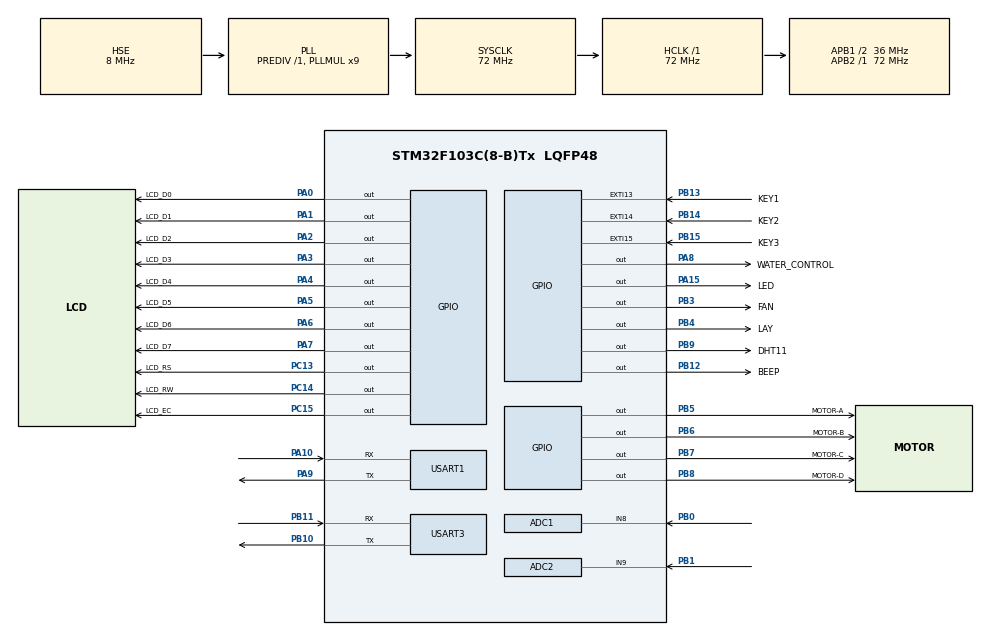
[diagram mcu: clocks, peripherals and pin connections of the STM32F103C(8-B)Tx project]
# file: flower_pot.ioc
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ADC1.Channel-1\#ChannelRegularConversion=ADC_CHANNEL_8
ADC1.NbrOfConversionFlag=1
ADC1.Rank-1\#ChannelRegularConversion=1
ADC1.SamplingTime-1\#ChannelRegularConversion=ADC_SAMPLETIME_1CYCLE_5
ADC1.master=1
ADC2.Channel-0\#ChannelRegularConversion=ADC_CHANNEL_9
ADC2.NbrOfConversionFlag=1
ADC2.Rank-0\#ChannelRegularConversion=1
ADC2.SamplingTime-0\#ChannelRegularConversion=ADC_SAMPLETIME_1CYCLE_5
Dma.Request0=USART3_RX
Dma.USART3_RX.0.Direction=DMA_PERIPH_TO_MEMORY
Dma.USART3_RX.0.Instance=DMA1_Channel3
Dma.USART3_RX.0.MemDataAlignment=DMA_MDATAALIGN_BYTE
Dma.USART3_RX.0.MemInc=DMA_MINC_ENABLE
Dma.USART3_RX.0.Mode=DMA_NORMAL
Dma.USART3_RX.0.PeriphDataAlignment=DMA_PDATAALIGN_BYTE
Dma.USART3_RX.0.PeriphInc=DMA_PINC_DISABLE
Dma.USART3_RX.0.Priority=DMA_PRIORITY_LOW
Mcu.Family=STM32F1
Mcu.Name=STM32F103C(8-B)Tx
Mcu.Package=LQFP48
NVIC.DMA1_Channel3_IRQn=true\:0\:0\:false\:false\:true\:false\:true\:true
NVIC.EXTI15_10_IRQn=true\:0\:0\:false\:false\:true\:true\:true\:true
NVIC.PriorityGroup=NVIC_PRIORITYGROUP_4
NVIC.TIM1_UP_IRQn=true\:0\:0\:false\:false\:true\:true\:true\:true
NVIC.USART3_IRQn=true\:0\:0\:false\:false\:true\:true\:true\:true
PA0-WKUP.GPIO_Label=LCD_D0
PA0-WKUP.GPIO_ModeDefaultOutputPP=GPIO_MODE_OUTPUT_PP
PA0-WKUP.GPIO_PuPd=GPIO_NOPULL
PA0-WKUP.GPIO_Speed=GPIO_SPEED_FREQ_MEDIUM
PA0-WKUP.PinState=GPIO_PIN_RESET
PA0-WKUP.Signal=GPIO_Output
PA1.GPIO_Label=LCD_D1
PA1.GPIO_ModeDefaultOutputPP=GPIO_MODE_OUTPUT_PP
PA1.GPIO_PuPd=GPIO_NOPULL
PA1.GPIO_Speed=GPIO_SPEED_FREQ_MEDIUM
PA1.PinState=GPIO_PIN_RESET
PA1.Signal=GPIO_Output
PA10.Mode=Asynchronous
PA10.Signal=USART1_RX
PA13.Mode=Serial_Wire
PA13.Signal=SYS_JTMS-SWDIO
PA14.Mode=Serial_Wire
PA14.Signal=SYS_JTCK-SWCLK
PA15.GPIO_Label=LED
PA15.GPIO_ModeDefaultOutputPP=GPIO_MODE_OUTPUT_PP
PA15.GPIO_PuPd=GPIO_PULLUP
PA15.GPIO_Speed=GPIO_SPEED_FREQ_HIGH
PA15.PinState=GPIO_PIN_SET
PA15.Signal=GPIO_Output
PA2.GPIO_Label=LCD_D2
PA2.GPIO_ModeDefaultOutputPP=GPIO_MODE_OUTPUT_PP
PA2.GPIO_PuPd=GPIO_NOPULL
PA2.GPIO_Speed=GPIO_SPEED_FREQ_MEDIUM
PA2.PinState=GPIO_PIN_RESET
PA2.Signal=GPIO_Output
PA3.GPIO_Label=LCD_D3
PA3.GPIO_ModeDefaultOutputPP=GPIO_MODE_OUTPUT_PP
PA3.GPIO_PuPd=GPIO_NOPULL
PA3.GPIO_Speed=GPIO_SPEED_FREQ_MEDIUM
PA3.PinState=GPIO_PIN_RESET
PA3.Signal=GPIO_Output
PA4.GPIO_Label=LCD_D4
PA4.GPIO_ModeDefaultOutputPP=GPIO_MODE_OUTPUT_PP
PA4.GPIO_PuPd=GPIO_NOPULL
PA4.GPIO_Speed=GPIO_SPEED_FREQ_MEDIUM
PA4.PinState=GPIO_PIN_RESET
PA4.Signal=GPIO_Output
PA5.GPIO_Label=LCD_D5
PA5.GPIO_ModeDefaultOutputPP=GPIO_MODE_OUTPUT_PP
PA5.GPIO_PuPd=GPIO_NOPULL
PA5.GPIO_Speed=GPIO_SPEED_FREQ_MEDIUM
PA5.PinState=GPIO_PIN_RESET
PA5.Signal=GPIO_Output
PA6.GPIO_Label=LCD_D6
PA6.GPIO_ModeDefaultOutputPP=GPIO_MODE_OUTPUT_PP
PA6.GPIO_PuPd=GPIO_NOPULL
PA6.GPIO_Speed=GPIO_SPEED_FREQ_MEDIUM
PA6.PinState=GPIO_PIN_RESET
PA6.Signal=GPIO_Output
PA7.GPIO_Label=LCD_D7
PA7.GPIO_ModeDefaultOutputPP=GPIO_MODE_OUTPUT_PP
PA7.GPIO_PuPd=GPIO_NOPULL
PA7.GPIO_Speed=GPIO_SPEED_FREQ_MEDIUM
PA7.PinState=GPIO_PIN_RESET
PA7.Signal=GPIO_Output
PA8.GPIO_Label=WATER_CONTROL
PA8.GPIO_ModeDefaultOutputPP=GPIO_MODE_OUTPUT_PP
PA8.GPIO_PuPd=GPIO_PULLDOWN
PA8.GPIO_Speed=GPIO_SPEED_FREQ_MEDIUM
PA8.PinState=GPIO_PIN_SET
PA8.Signal=GPIO_Output
PA9.Mode=Asynchronous
PA9.Signal=USART1_TX
PB0.Signal=ADCx_IN8
PB1.Signal=ADCx_IN9
PB10.Mode=Asynchronous
PB10.Signal=USART3_TX
PB11.Mode=Asynchronous
PB11.Signal=USART3_RX
PB12.GPIO_Label=BEEP
PB12.GPIO_ModeDefaultOutputPP=GPIO_MODE_OUTPUT_PP
PB12.GPIO_PuPd=GPIO_PULLUP
PB12.GPIO_Speed=GPIO_SPEED_FREQ_MEDIUM
PB12.PinState=GPIO_PIN_SET
PB12.Signal=GPIO_Output
PB13.GPIO_Label=KEY1
PB13.GPIO_ModeDefaultEXTI=GPIO_MODE_IT_FALLING
PB13.GPIO_PuPd=GPIO_PULLUP
PB13.Signal=GPXTI13
PB14.GPIO_Label=KEY2
PB14.GPIO_ModeDefaultEXTI=GPIO_MODE_IT_FALLING
PB14.GPIO_PuPd=GPIO_PULLUP
PB14.Signal=GPXTI14
PB15.GPIO_Label=KEY3
PB15.GPIO_ModeDefaultEXTI=GPIO_MODE_IT_FALLING
PB15.GPIO_PuPd=GPIO_PULLUP
PB15.Signal=GPXTI15
PB3.GPIO_Label=FAN
PB3.GPIO_PuPd=GPIO_PULLDOWN
PB3.GPIO_Speed=GPIO_SPEED_FREQ_MEDIUM
PB3.PinState=GPIO_PIN_SET
PB3.Signal=GPIO_Output
PB4.GPIO_Label=LAY
PB4.GPIO_ModeDefaultOutputPP=GPIO_MODE_OUTPUT_PP
PB4.GPIO_PuPd=GPIO_PULLDOWN
PB4.GPIO_Speed=GPIO_SPEED_FREQ_MEDIUM
PB4.PinState=GPIO_PIN_SET
PB4.Signal=GPIO_Output
PB5.GPIO_Label=MOTOR-A
PB5.GPIO_PuPd=GPIO_PULLDOWN
PB5.GPIO_Speed=GPIO_SPEED_FREQ_HIGH
PB5.PinState=GPIO_PIN_SET
PB5.Signal=GPIO_Output
PB6.GPIO_Label=MOTOR-B
PB6.GPIO_ModeDefaultOutputPP=GPIO_MODE_OUTPUT_PP
PB6.GPIO_PuPd=GPIO_PULLDOWN
PB6.GPIO_Speed=GPIO_SPEED_FREQ_HIGH
PB6.PinState=GPIO_PIN_SET
PB6.Signal=GPIO_Output
PB7.GPIO_Label=MOTOR-C
PB7.GPIO_PuPd=GPIO_PULLDOWN
PB7.GPIO_Speed=GPIO_SPEED_FREQ_HIGH
PB7.PinState=GPIO_PIN_SET
PB7.Signal=GPIO_Output
PB8.GPIO_Label=MOTOR-D
PB8.GPIO_ModeDefaultOutputPP=GPIO_MODE_OUTPUT_PP
PB8.GPIO_PuPd=GPIO_PULLDOWN
PB8.GPIO_Speed=GPIO_SPEED_FREQ_HIGH
PB8.PinState=GPIO_PIN_SET
PB8.Signal=GPIO_Output
PB9.GPIO_Label=DHT11
PB9.GPIO_PuPd=GPIO_PULLUP
PB9.GPIO_Speed=GPIO_SPEED_FREQ_HIGH
PB9.PinState=GPIO_PIN_SET
PB9.Signal=GPIO_Output
PC13-TAMPER-RTC.GPIO_Label=LCD_RS
PC13-TAMPER-RTC.GPIO_ModeDefaultOutputPP=GPIO_MODE_OUTPUT_PP
PC13-TAMPER-RTC.GPIO_PuPd=GPIO_NOPULL
PC13-TAMPER-RTC.GPIO_Speed=GPIO_SPEED_FREQ_MEDIUM
PC13-TAMPER-RTC.PinState=GPIO_PIN_RESET
PC13-TAMPER-RTC.Signal=GPIO_Output
PC14-OSC32_IN.GPIO_Label=LCD_RW
PC14-OSC32_IN.GPIO_PuPd=GPIO_NOPULL
PC14-OSC32_IN.GPIO_Speed=GPIO_SPEED_FREQ_MEDIUM
PC14-OSC32_IN.PinState=GPIO_PIN_RESET
PC14-OSC32_IN.Signal=GPIO_Output
PC15-OSC32_OUT.GPIO_Label=LCD_EC
PC15-OSC32_OUT.GPIO_ModeDefaultOutputPP=GPIO_MODE_OUTPUT_PP
PC15-OSC32_OUT.GPIO_PuPd=GPIO_NOPULL
PC15-OSC32_OUT.GPIO_Speed=GPIO_SPEED_FREQ_MEDIUM
PC15-OSC32_OUT.PinState=GPIO_PIN_RESET
PC15-OSC32_OUT.Signal=GPIO_Output
PD0-OSC_IN.Mode=HSE-External-Oscillator
PD0-OSC_IN.Signal=RCC_OSC_IN
PD1-OSC_OUT.Mode=HSE-External-Oscillator
PD1-OSC_OUT.Signal=RCC_OSC_OUT
ProjectManager.HeapSize=0x200
ProjectManager.StackSize=0x400
ProjectManager.TargetToolchain=MDK-ARM V5.32
RCC.ADCPresc=RCC_ADCPCLK2_DIV6
RCC.AHBFreq_Value=72000000
RCC.APB1CLKDivider=RCC_HCLK_DIV2
RCC.APB1Freq_Value=36000000
RCC.APB1TimFreq_Value=72000000
RCC.APB2Freq_Value=72000000
RCC.APB2TimFreq_Value=72000000
RCC.HCLKFreq_Value=72000000
RCC.PLLMUL=RCC_PLL_MUL9
RCC.PLLSourceVirtual=RCC_PLLSOURCE_HSE
RCC.SYSCLKFreq_VALUE=72000000
RCC.SYSCLKSource=RCC_SYSCLKSOURCE_PLLCLK
RCC.USBFreq_Value=72000000
SH.ADCx_IN8.0=ADC1_IN8,IN8
SH.ADCx_IN9.0=ADC2_IN9,IN9
TIM1.Prescaler=71
USART1.VirtualMode=VM_ASYNC
USART3.VirtualMode=VM_ASYNC
VP_TIM1_VS_ClockSourceINT.Mode=Internal
board=custom

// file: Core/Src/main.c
/* USER CODE BEGIN Header */
/**
  ******************************************************************************
  * @file           : main.c
  * @brief          : Main program body
  ******************************************************************************
  * @attention
  *
  * Copyright (c) 2025 STMicroelectronics.
  * All rights reserved.
  *
  * This software is licensed under terms that can be found in the LICENSE file
  * in the root directory of this software component.
  * If no LICENSE file comes with this software, it is provided AS-IS.
  *
  ******************************************************************************
  */
/* USER CODE END Header */
#include "main.h"
#include "adc.h"
#include "dma.h"
#include "tim.h"
#include "usart.h"
#include "gpio.h"

/* USER CODE BEGIN Includes */
#include "lcd_1602.h"
#include "DHT11.h"
#include "motor.h"
#include "string.h"
#include "esp8266.h"
/* USER CODE END Includes */

/* USER CODE BEGIN PTD */
bool is_yichang = false;
/* USER CODE END PTD */

void SystemClock_Config(void);

int main(void)
{
  /* USER CODE BEGIN 1 */
	static int i_count1=0;
  float adcy,adcy1;
	uint16_t adcx = 0,adcx1 = 0;
	char data_light[4]={0},data_light1[4]={0};
	bool start_wifi=false;

	char show_light[50],show_wet[20];
  /* USER CODE END 1 */

  /* MCU Configuration--------------------------------------------------------*/

  /* Reset of all peripherals, Initializes the Flash interface and the Systick. */
  HAL_Init();

  /* Configure the system clock */
  SystemClock_Config();

  /* Initialize all configured peripherals */
  MX_GPIO_Init();
  MX_DMA_Init();
  MX_USART1_UART_Init();
  MX_ADC1_Init();
  MX_ADC2_Init();
  MX_USART3_UART_Init();
  MX_TIM1_Init();
  /* USER CODE BEGIN 2 */
	lay_control(false);
	//
	LCD_INIT();
	start_wifi =start_esp8266();
#if 1
  //LCD_TEST*
	/* read DHT11 DATA
	  	DHT11();
	 */

	 /*motor test,+90C
	 direction = 0; //0
	 for(int i=0;i<(motor_angle_cal(90))/8;i++)
	 {
			for(uint8_t step=0;step<8;step++)
			{
					motor_controld(step,direction);
				HAL_Delay(1);
			}
	 }*/

#endif
  /* USER CODE END 2 */

  /* Infinite loop */
  while (1)
  {
    /* USER CODE BEGIN 3 */
		DHT11();
						  handle_esp8266();
		//ADC1获取光照
		HAL_ADC_Start(&hadc1);
		HAL_ADC_PollForConversion(&hadc1,10);
		adcx = (uint16_t)HAL_ADC_GetValue(&hadc1);
		adcy = (float)adcx*3.3/4096;
		sprintf(data_light,"%.3f",adcy);
		lcd1602_show_string(0,1,data_light);

		//ADC2获取土壤条件
		HAL_ADC_Start(&hadc2);
		HAL_ADC_PollForConversion(&hadc2,10);
		adcx1 = (uint16_t)HAL_ADC_GetValue(&hadc2);
		adcy1 = (float)adcx1*3.3/4096;
		sprintf(data_light1,"%.3f",adcy1);
		lcd1602_show_string(6,1,data_light1);

    i_count1++;
		if(i_count1/10)
		{
			  i_count1=0;
				sprintf(show_light,"light:%.3f wet:%.3f\r\n",adcy,adcy1);
				send_wifi((uint8_t*)show_light,24);
		}

		(adcy <light_data)?lay_control(true):lay_control(false); //The light is too strong, turn on the relay

		if(adcy1<soil_moisture_miner)  //The smaller, the wetter，松土
		{
				direction = 0; //Turn to loosen the soil in a positive direction
				for(int i=0;i<(motor_angle_cal(90))/8;i++)
				{
					for(uint8_t step=0;step<8;step++)
					{
							motor_controld(step,direction);
							HAL_Delay(1);
					}
				}
	  }

		if(adcy1>soil_moisture_lager)  //太干浇水
		{
		    HAL_GPIO_WritePin(GPIOA, WATER_CONTROL_Pin, GPIO_PIN_RESET);
		}
		else
		{
				HAL_GPIO_WritePin(GPIOA, WATER_CONTROL_Pin, GPIO_PIN_SET);
		}

//			if(start_wifi)
//			{
//				  handle_esp8266();
//			}

			if(botton == MIDLE)
			{
				  botton = UNPRESS;
					LCD_CLR();
				  ui_setting();
			}

			if(botton == LEFT)  //左键松土
			{
				  botton = UNPRESS;
					 direction = 1; //Reverse fertilization
						for(int j=0;j<(motor_angle_cal(90))/8;j++)
						{
								for(uint8_t step=0;step<8;step++)
								{
										motor_controld(step,direction);
										HAL_Delay(1);
								}
						}
			}

			if(botton == RIGHT)  //左键松土
			{
				botton = UNPRESS;
				lay_control(true);
			}

			if(time_right)  //定时松土
			{
				  time_right =false;
					 direction = 0; //Reverse fertilization
					for(int j=0;j<(motor_angle_cal(90))/8;j++)
					{
						for(uint8_t step=0;step<8;step++)
					{
							motor_controld(step,direction);
							HAL_Delay(1);
					}
				}
			}
  }
  /* USER CODE END 3 */
}

void SystemClock_Config(void)
{
  RCC_OscInitTypeDef RCC_OscInitStruct = {0};
  RCC_ClkInitTypeDef RCC_ClkInitStruct = {0};
  RCC_PeriphCLKInitTypeDef PeriphClkInit = {0};

  /** Initializes the RCC Oscillators according to the specified parameters
  * in the RCC_OscInitTypeDef structure.
  */
  RCC_OscInitStruct.OscillatorType = RCC_OSCILLATORTYPE_HSE;
  RCC_OscInitStruct.HSEState = RCC_HSE_ON;
  RCC_OscInitStruct.HSEPredivValue = RCC_HSE_PREDIV_DIV1;
  RCC_OscInitStruct.HSIState = RCC_HSI_ON;
  RCC_OscInitStruct.PLL.PLLState = RCC_PLL_ON;
  RCC_OscInitStruct.PLL.PLLSource = RCC_PLLSOURCE_HSE;
  RCC_OscInitStruct.PLL.PLLMUL = RCC_PLL_MUL9;
  if (HAL_RCC_OscConfig(&RCC_OscInitStruct) != HAL_OK)
  {
    Error_Handler();
  }

  /** Initializes the CPU, AHB and APB buses clocks
  */
  RCC_ClkInitStruct.ClockType = RCC_CLOCKTYPE_HCLK|RCC_CLOCKTYPE_SYSCLK
                              |RCC_CLOCKTYPE_PCLK1|RCC_CLOCKTYPE_PCLK2;
  RCC_ClkInitStruct.SYSCLKSource = RCC_SYSCLKSOURCE_PLLCLK;
  RCC_ClkInitStruct.AHBCLKDivider = RCC_SYSCLK_DIV1;
  RCC_ClkInitStruct.APB1CLKDivider = RCC_HCLK_DIV2;
  RCC_ClkInitStruct.APB2CLKDivider = RCC_HCLK_DIV1;

  if (HAL_RCC_ClockConfig(&RCC_ClkInitStruct, FLASH_LATENCY_2) != HAL_OK)
  {
    Error_Handler();
  }
  PeriphClkInit.PeriphClockSelection = RCC_PERIPHCLK_ADC;
  PeriphClkInit.AdcClockSelection = RCC_ADCPCLK2_DIV6;
  if (HAL_RCCEx_PeriphCLKConfig(&PeriphClkInit) != HAL_OK)
  {
    Error_Handler();
  }
}

void Error_Handler(void)
{
  __disable_irq();
  while (1)
  {
  }
}
